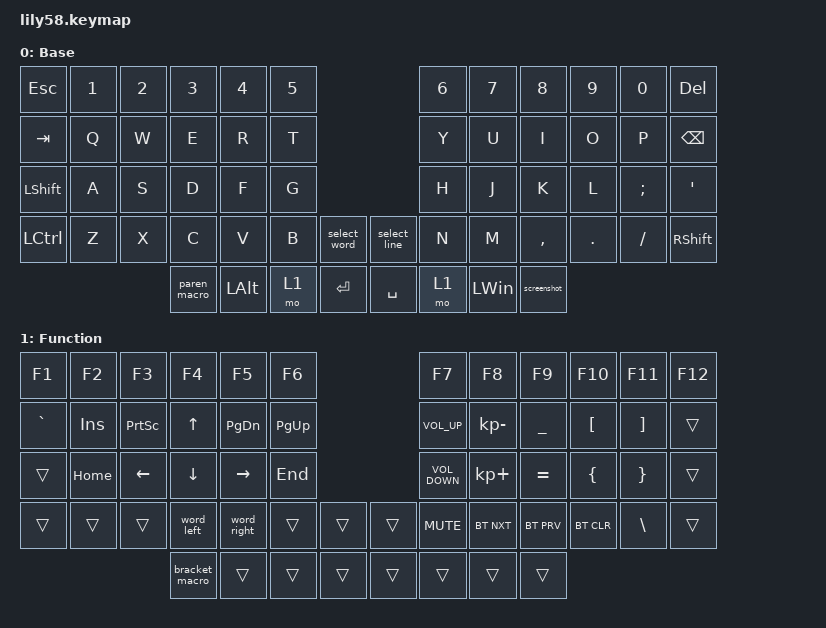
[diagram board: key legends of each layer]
/*
 * Copyright (c) 2020 The ZMK Contributors
 *
 * SPDX-License-Identifier: MIT
 */

#include <behaviors.dtsi>
#include <dt-bindings/zmk/bt.h>
#include <dt-bindings/zmk/keys.h>

/ {
    macros {
        screenshot: screenshot {
            compatible = "zmk,behavior-macro";
            #binding-cells = <0>;
            bindings =
                <&macro_press>,
                <&kp LGUI>,
                <&macro_press>,
                <&kp LSHFT>,
                <&macro_tap>,
                <&kp S>,
                <&macro_release>,
                <&kp LSHFT>,
                <&macro_release>,
                <&kp LGUI>;
        };

        select_word: select_word {
            compatible = "zmk,behavior-macro";
            #binding-cells = <0>;
            bindings =
                <&macro_press>,
                <&kp LCTRL>,
                <&macro_tap>,
                <&kp RIGHT>,
                <&macro_release>,
                <&kp LCTRL>,
                <&macro_press>,
                <&kp LCTRL>,
                <&macro_press>,
                <&kp LSHFT>,
                <&macro_tap>,
                <&kp LEFT>,
                <&macro_release>,
                <&kp LSHFT>,
                <&macro_release>,
                <&kp LCTRL>;
        };

        select_line: select_line {
            compatible = "zmk,behavior-macro";
            #binding-cells = <0>;
            bindings =
                <&macro_tap>,
                <&kp HOME>,
                <&macro_press>,
                <&kp LSHFT>,
                <&macro_tap>,
                <&kp END>,
                <&macro_release>,
                <&kp LSHFT>;
        };

        word_left: word_left {
            compatible = "zmk,behavior-macro";
            #binding-cells = <0>;
            bindings =
                <&macro_press>,
                <&kp LCTRL>,
                <&macro_tap>,
                <&kp LEFT>,
                <&macro_release>,
                <&kp LCTRL>;
        };

        word_right: word_right {
            compatible = "zmk,behavior-macro";
            #binding-cells = <0>;
            bindings =
                <&macro_press>,
                <&kp LCTRL>,
                <&macro_tap>,
                <&kp RIGHT>,
                <&macro_release>,
                <&kp LCTRL>;
        };

        /* --- new bracket-pair macros --- */

        paren_macro: paren_macro {
            compatible = "zmk,behavior-macro";
            #binding-cells = <0>;
            bindings =
                <&macro_tap>,
                <&kp LPAR>,
                <&macro_tap>,
                <&kp RPAR>,
                <&macro_tap>,
                <&kp LEFT>;
        };

        bracket_macro: bracket_macro {
            compatible = "zmk,behavior-macro";
            #binding-cells = <0>;
            bindings =
                <&macro_tap>,
                <&kp LBKT>,
                <&macro_tap>,
                <&kp RBKT>,
                <&macro_tap>,
                <&kp LEFT>;
        };
    };

    keymap {
        compatible = "zmk,keymap";

        default_layer {
            display-name = "Base";
            bindings = <
&kp ESC           &kp N1  &kp N2  &kp N3        &kp N4        &kp N5                                &kp N6  &kp N7        &kp N8       &kp N9   &kp N0    &kp DELETE
&kp TAB           &kp Q   &kp W   &kp E         &kp R         &kp T                                 &kp Y   &kp U         &kp I        &kp O    &kp P     &kp BACKSPACE
&kp LEFT_SHIFT    &kp A   &kp S   &kp D         &kp F         &kp G                                 &kp H   &kp J         &kp K        &kp L    &kp SEMI  &kp SQT
&kp LEFT_CONTROL  &kp Z   &kp X   &kp C         &kp V         &kp B   &select_word    &select_line  &kp N   &kp M         &kp COMMA    &kp DOT  &kp FSLH  &kp RSHFT
                                  &paren_macro  &kp LEFT_ALT  &mo 1   &kp ENTER       &kp SPACE     &mo 1   &kp LEFT_WIN  &screenshot
            >;
        };

        function_layer {
            display-name = "Function";
            bindings = <
&kp F1     &kp F2      &kp F3           &kp F4          &kp F5       &kp F6                       &kp F7             &kp F8           &kp F9      &kp F10           &kp F11            &kp F12
&kp GRAVE  &kp INSERT  &kp PRINTSCREEN  &kp UP_ARROW    &kp PG_DN    &kp PG_UP                    &kp C_VOLUME_UP    &kp KP_SUBTRACT  &kp UNDER   &kp LEFT_BRACKET  &kp RIGHT_BRACKET  &trans
&trans     &kp HOME    &kp LEFT_ARROW   &kp DOWN_ARROW  &kp RIGHT    &kp END                      &kp C_VOLUME_DOWN  &kp KP_PLUS      &kp EQUAL   &kp LEFT_BRACE    &kp RIGHT_BRACE    &trans
&trans     &trans      &trans           &word_left      &word_right  &trans     &trans    &trans  &kp C_MUTE         &bt BT_NXT       &bt BT_PRV  &bt BT_CLR        &kp BACKSLASH      &trans
                                        &bracket_macro   &trans       &trans     &trans    &trans  &trans             &trans           &trans
            >;
        };
    };
};
